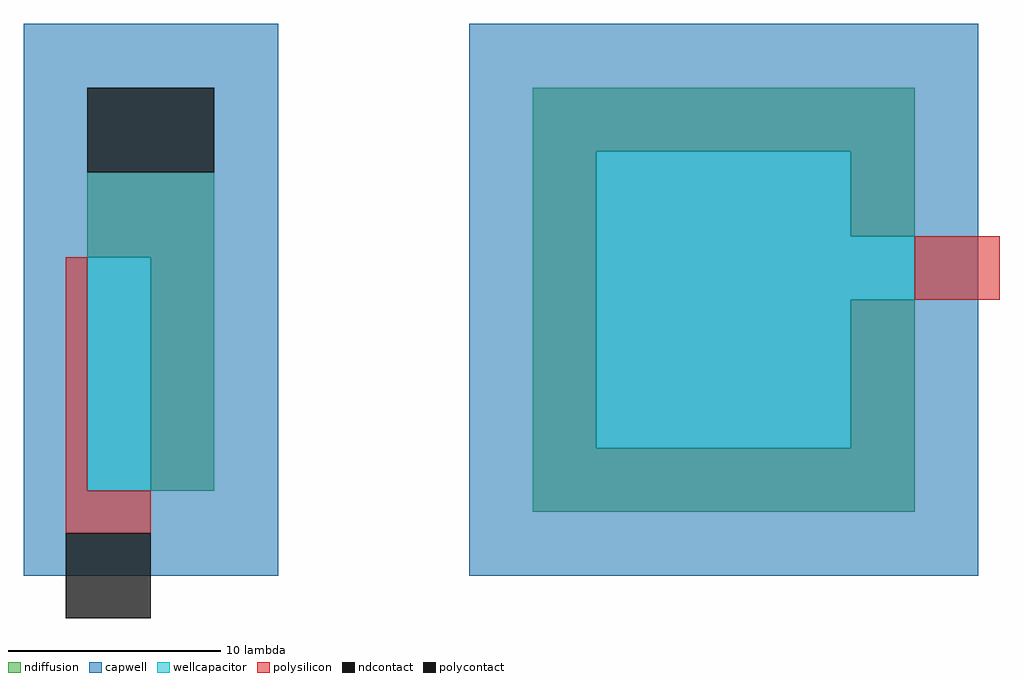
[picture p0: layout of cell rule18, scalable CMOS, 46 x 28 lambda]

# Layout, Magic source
magic
tech scmos
<< capwell >>
rect 0 0 12 26
rect 21 0 45 26
<< polysilicon >>
rect 2 4 3 15
rect 42 13 46 16
rect 2 2 6 4
<< wellcapacitor >>
rect 3 4 6 15
rect 27 16 39 20
rect 27 13 42 16
rect 27 6 39 13
<< ndiffusion >>
rect 3 15 9 19
rect 6 4 9 15
rect 24 20 42 23
rect 24 6 27 20
rect 39 16 42 20
rect 39 6 42 13
rect 24 3 42 6
<< polycontact >>
rect 2 -2 6 2
<< ndcontact >>
rect 3 19 9 23
<< end >>
